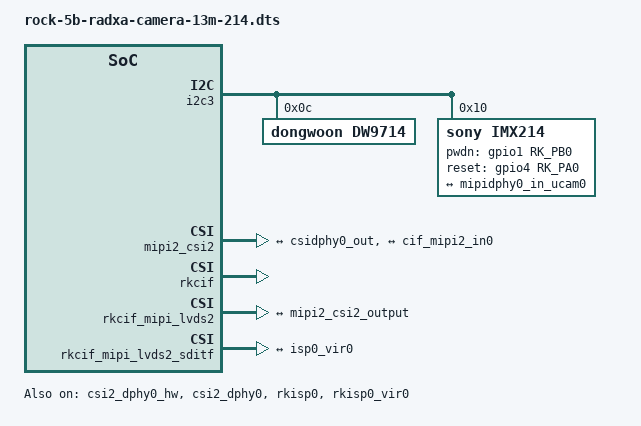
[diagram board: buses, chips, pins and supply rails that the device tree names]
/dts-v1/;
/plugin/;

#include <dt-bindings/clock/rk3588-cru.h>
#include <dt-bindings/power/rk3588-power.h>
#include <dt-bindings/gpio/gpio.h>
#include <dt-bindings/pinctrl/rockchip.h>

/ {
	metadata {
		title ="Enable Radxa Camera 13M 214";
		compatible = "radxa,rock-5b";
		category = "camera";
		exclusive = "GPIO1_B0", "GPIO4_A0", "csi2_dphy0", "i2c3";
		description = "Enable Radxa Camera 13M 214.";
	};
};

&i2c3 {
	status = "okay";
	#address-cells = <1>;
	#size-cells = <0>;

	dw9714: dw9714@c {
		compatible = "dongwoon,dw9714";
		status = "okay";
		reg = <0x0c>;
		rockchip,vcm-start-current = <10>;
		rockchip,vcm-rated-current = <85>;
		rockchip,vcm-step-mode = <3>;
		rockchip,camera-module-index = <0>;
		rockchip,camera-module-facing = "back";
	};

	imx214: imx214@10 {
		status = "okay";
		compatible = "sony,imx214";
		reg = <0x10>;
		clocks = <&cru CLK_MIPI_CAMARAOUT_M3>;
		clock-names = "xvclk";
		pinctrl-names = "default";
		pinctrl-0 = <&mipim0_camera3_clk>;
		power-domains = <&power RK3588_PD_VI>;
		pwdn-gpios = <&gpio1 RK_PB0 GPIO_ACTIVE_HIGH>;
		reset-gpios = <&gpio4 RK_PA0 GPIO_ACTIVE_HIGH>;
		rockchip,camera-module-index = <0>;
		rockchip,camera-module-facing = "back";
		rockchip,camera-module-name = "RADXA-CAMERA-13M";
		rockchip,camera-module-lens-name = "DEFAULT";
		lens-focus = <&dw9714>;
		port {
			imx214_out0: endpoint {
				remote-endpoint = <&mipidphy0_in_ucam0>;
				data-lanes = <1 2 3 4>;
			};
		};
	};
};

&csi2_dphy0_hw {
	status = "okay";
};

&csi2_dphy0 {
	status = "okay";

	ports {
		#address-cells = <1>;
		#size-cells = <0>;

		port@0 {
			reg = <0>;
			#address-cells = <1>;
			#size-cells = <0>;

			mipidphy0_in_ucam0: endpoint@1 {
				reg = <1>;
				remote-endpoint = <&imx214_out0>;
				data-lanes = <1 2 3 4>;
			};
		};

		port@1 {
			reg = <1>;
			#address-cells = <1>;
			#size-cells = <0>;

			csidphy0_out: endpoint@0 {
				reg = <0>;
				remote-endpoint = <&mipi2_csi2_input>;
			};
		};
	};
};

&mipi2_csi2 {
	status = "okay";

	ports {
		#address-cells = <1>;
		#size-cells = <0>;

		port@0 {
			reg = <0>;
			#address-cells = <1>;
			#size-cells = <0>;

			mipi2_csi2_input: endpoint@1 {
				reg = <1>;
				remote-endpoint = <&csidphy0_out>;
			};
		};

		port@1 {
			reg = <1>;
			#address-cells = <1>;
			#size-cells = <0>;

			mipi2_csi2_output: endpoint@0 {
				reg = <0>;
				remote-endpoint = <&cif_mipi2_in0>;
			};
		};
	};
};

&rkcif {
	status = "okay";
};

&rkcif_mipi_lvds2 {
	status = "okay";

	port {
		cif_mipi2_in0: endpoint {
			remote-endpoint = <&mipi2_csi2_output>;
		};
	};
};

&rkcif_mipi_lvds2_sditf {
	status = "okay";

	port {
		mipi_lvds2_sditf: endpoint {
			remote-endpoint = <&isp0_vir0>;
		};
	};
};

&rkcif_mmu {
	status = "okay";
};

&isp0_mmu {
	status = "okay";
};

&rkisp0 {
	status = "okay";
};

&rkisp0_vir0 {
	status = "okay";

	port {
		#address-cells = <1>;
		#size-cells = <0>;

		isp0_vir0: endpoint@0 {
			reg = <0>;
			remote-endpoint = <&mipi_lvds2_sditf>;
		};
	};
};
